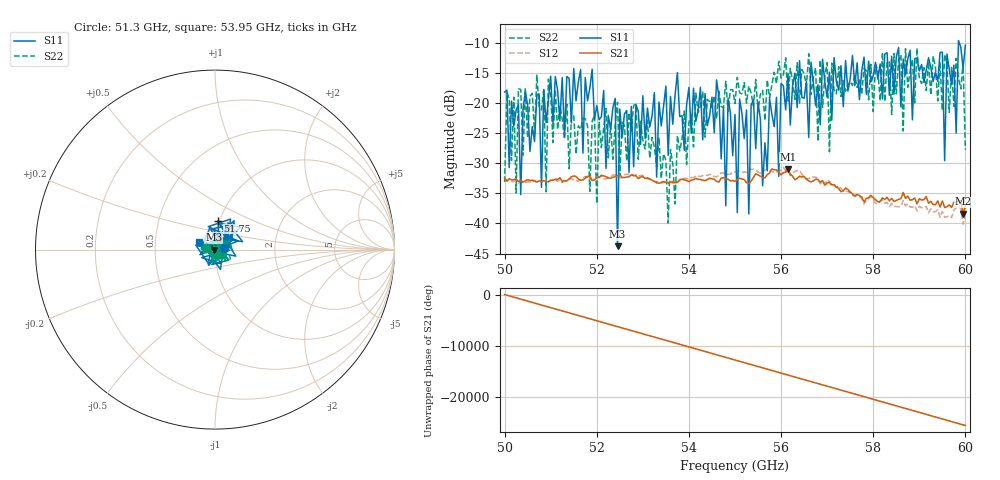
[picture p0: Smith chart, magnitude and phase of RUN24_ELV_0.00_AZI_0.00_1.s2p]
! 11/24/2026 9:48:07 AM
! C:\ANRITSUVNA\TEMP\TEMP.S2P
! CHANNEL.1
! TR.MEASUREMENT
! RAW.DATA
# HZ S RI R 50.0
! FREQ.HZ  S11RE  S11IM  S21RE  S21IM  S12RE  S12IM  S22RE  S22IM
!; PortSelection: Port_12
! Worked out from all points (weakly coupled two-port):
!   201 points, 50 GHz to 60 GHz, reference 50 ohm
!   highest |S21| = -30.96 dB at 56.15 GHz (marker M1); lowest = -38.4 dB at 59.95 GHz (marker M2)
!   lowest |S11| = -43.8 dB at 52.45 GHz (marker M3), VSWR 1.01, Z = 49.4 + j0.0398 ohm
!   |S11| at or under -10 dB: start of sweep to 59.85 GHz; 59.86677 GHz to end of sweep
!   |S22| runs from -39.9 to -10.9 dB; largest |S21 - S12| = 0.044
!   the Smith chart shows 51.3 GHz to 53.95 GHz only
!   S11 on the Smith chart (normalised r, x): 51.3 GHz: 1.11, +0.01; 51.75 GHz: 0.98, +0.33; 53.95 GHz: 0.84, +0.07
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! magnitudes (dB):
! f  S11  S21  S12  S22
! 50 GHz  -18.2  -32.5  -32.6  -33.1
! 50.35 GHz  -35.2  -32.8  -33.0  -17.8
! 50.45 GHz  -18.2  -32.9  -33.2  -17.5
! 51.3 GHz  -25.5  -32.9  -33.0  -26.0
! 51.7 GHz  -28.3  -32.8  -32.4  -22.6
! 51.75 GHz  -15.8  -32.5  -32.2  -22.6
! 52.4 GHz  -19.2  -32.2  -31.9  -23.6
! 52.45 GHz  -43.8  -32.1  -32.3  -19.9
! 52.5 GHz  -21.0  -31.9  -32.4  -32.1
! 53.35 GHz  -19.8  -33.3  -33.0  -25.7
! 53.95 GHz  -20.3  -32.9  -32.5  -30.2
! 54.6 GHz  -16.2  -33.0  -32.3  -22.7
! 54.8 GHz  -37.1  -32.5  -31.9  -16.4
! 55 GHz  -21.9  -33.0  -31.5  -20.1
! 55.3 GHz  -38.4  -33.4  -31.3  -17.2
! 55.35 GHz  -20.3  -33.0  -31.0  -18.4
! 55.95 GHz  -32.2  -31.5  -31.3  -13.1
! 56.15 GHz  -15.1  -31.0  -31.3  -19.7
! 56.7 GHz  -16.7  -32.9  -32.3  -15.8
! 58.35 GHz  -18.7  -36.3  -37.2  -13.1
! 59.95 GHz  -14.2  -38.4  -40.1  -13.3
! 60 GHz  -10.4  -37.1  -38.8  -27.8
